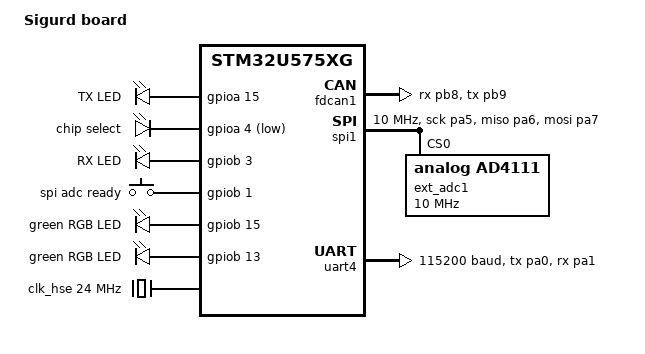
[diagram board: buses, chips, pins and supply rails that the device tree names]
/dts-v1/;
#include <st/u5/stm32u575Xg.dtsi>
#include <st/u5/stm32u575rgtx-pinctrl.dtsi>
#include <zephyr/dt-bindings/input/input-event-codes.h>

/ {
	model = "Sigurd board";

	chosen {
		zephyr,sram = &sram0;
		zephyr,flash = &flash0;
		zephyr,canbus = &fdcan1;
		zephyr,console = &uart4;
		zephyr,shell-uart = &uart4;
	};

	aliases {
		xadc1 = &ext_adc1;
		fdcan1 = &fdcan1;
		spimisoready = &spi1_miso_pa6;
	};


    leds {
        compatible = "gpio-leds";
        
        led0: led_0 {
			gpios = <&gpioa 15 GPIO_ACTIVE_HIGH>;
			label = "TX LED";
		};


        chipselect1: chipselect1 {
			gpios = <&gpioa 4 GPIO_ACTIVE_LOW>;
			label = "chip select";
		};

		led1: led_1 {
			gpios = <&gpiob 3 GPIO_ACTIVE_HIGH>;
			label = "RX LED";
		};

    };

	buttons {
		compatible = "gpio-keys";
        spiadcready: spiadcready {
			gpios = <&gpiob 1 (GPIO_ACTIVE_HIGH | GPIO_PULL_DOWN)>;
			label = "spi adc ready";
			zephyr,code = <INPUT_KEY_0>;
		};
	};

	rgbleds {
        compatible = "gpio-leds";
        
        g: green_led {
			gpios = <&gpiob 15 GPIO_ACTIVE_HIGH>;
			label = "green RGB LED";
		};

		r: red_led {
			gpios = <&gpiob 13 GPIO_ACTIVE_HIGH>;
			label = "green RGB LED";
		};

		

    };


};

&clk_hse {
    clock-frequency = <DT_FREQ_M(24)>; /* your crystal MHz */
    status = "okay";
};

&pll1 {
	div-m = <2>;
	mul-n = <30>;
	div-q = <4>;
	div-r = <4>;
	clocks = <&clk_hse>;
	status = "okay";
};

&rcc {
	clocks = <&pll1>;
	clock-frequency = <DT_FREQ_M(90)>;
	ahb-prescaler = <1>;
	apb1-prescaler = <1>;
	apb2-prescaler = <1>;
	apb3-prescaler = <1>;
};

&fdcan1 {
	clocks = <&rcc STM32_CLOCK_BUS_APB1_2 0x00000200>,
		 <&rcc STM32_SRC_PLL1_Q FDCAN1_SEL(1)>;
	pinctrl-0 = <&fdcan1_rx_pb8 &fdcan1_tx_pb9>;
	pinctrl-names = "default";
	status = "okay";
};

&spi1 {
    // compatible = "zephyr,spi-emul-controller";
    // compatible = "spi-device"
    status = "okay";
	pinctrl-0 = <&spi1_sck_pa5 &spi1_miso_pa6 &spi1_mosi_pa7>;
	pinctrl-names = "default";
    // cs-gpios = <&gpioa 4 GPIO_ACTIVE_LOW>;
	clock-frequency = <10000000>;

    ext_adc1: ad4111@0 {
		compatible = "analog,ad4111";
        status = "okay";
        reg = <0>;
        //spi-max-frequency = <100000>;
        spi-max-frequency = <10000000>;
    };

};

&uart4 {
    pinctrl-0 = <&uart4_tx_pa0 &uart4_rx_pa1>;
	pinctrl-names = "default";
	current-speed = <115200>;
	status = "okay";
};


&spi1_sck_pa5 {
	/delete-property/ bias-pull-down;
	bias-pull-up;
};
